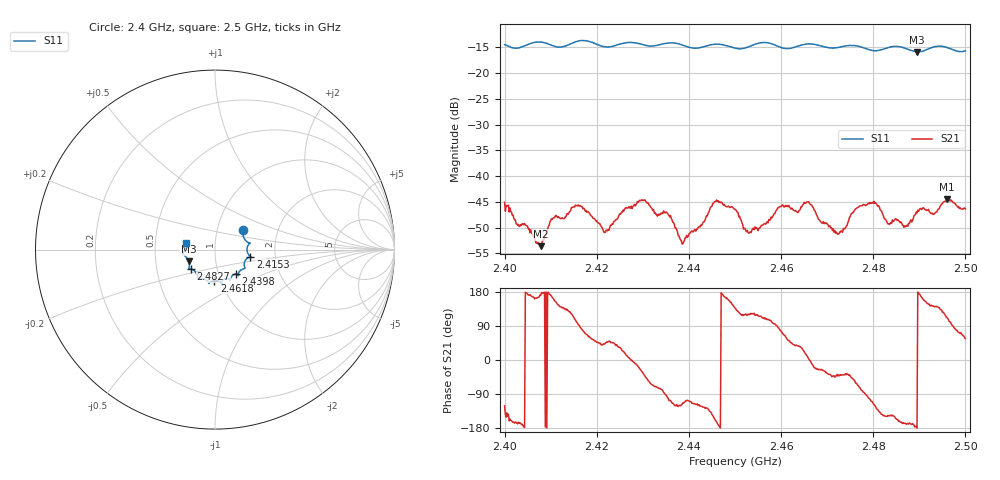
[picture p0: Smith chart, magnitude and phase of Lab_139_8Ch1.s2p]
# Hz S RI R 50
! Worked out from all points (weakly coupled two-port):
!   601 points, 2.4 GHz to 2.5 GHz, reference 50 ohm
!   highest |S21| = -44.47 dB at 2.496 GHz (marker M1); lowest = -53.6 dB at 2.4078 GHz (marker M2)
!   lowest |S11| = -15.9 dB at 2.4895 GHz (marker M3), VSWR 1.38, Z = 37 - j5.02 ohm
!   |S11| at or under -10 dB: start of sweep to end of sweep
!   S12 and S22 are empty: the file has one direction only
!   S11 on the Smith chart (normalised r, x): 2.4 GHz: 1.33, +0.29; 2.4153 GHz: 1.48, -0.12; 2.4398 GHz: 1.21, -0.34; 2.4618 GHz: 0.94, -0.33; 2.4827 GHz: 0.75, -0.17; 2.5 GHz: 0.72, +0.06
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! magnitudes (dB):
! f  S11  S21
! 2.4 GHz  -14.5  -45.1
! 2.4078 GHz  -14.0  -53.6
! 2.4105 GHz  -14.7  -48.2
! 2.4153 GHz  -14.0  -45.6
! 2.4167 GHz  -13.7  -45.9
! 2.4218 GHz  -14.9  -50.9
! 2.4293 GHz  -14.3  -44.7
! 2.4333 GHz  -14.6  -47.4
! 2.4385 GHz  -14.6  -53.1
! 2.4398 GHz  -15.0  -51.7
! 2.4458 GHz  -14.4  -44.9
! 2.45 GHz  -15.2  -46.5
! 2.453 GHz  -14.9  -51.1
! 2.4618 GHz  -15.2  -46.0
! 2.4667 GHz  -14.4  -45.6
! 2.472 GHz  -15.1  -50.8
! 2.4793 GHz  -15.6  -45.1
! 2.4827 GHz  -15.2  -48.4
! 2.4833 GHz  -15.0  -49.2
! 2.4895 GHz  -15.9  -47.1
! 2.496 GHz  -15.1  -44.5
! 2.5 GHz  -15.7  -46.4
